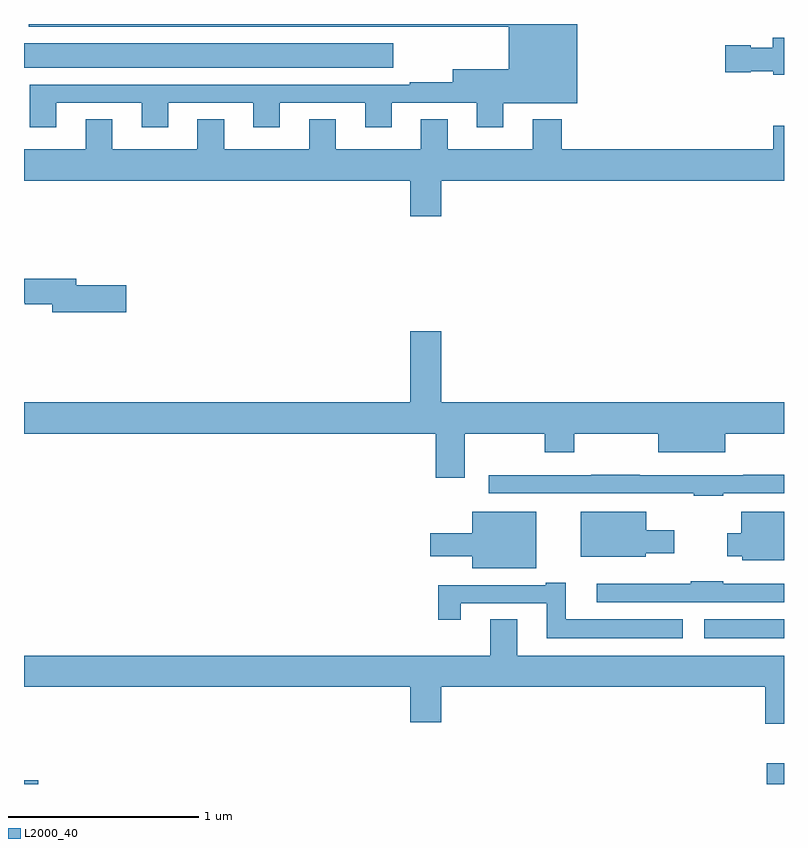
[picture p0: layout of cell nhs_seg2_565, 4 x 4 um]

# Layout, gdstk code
import gdstk
lib = gdstk.Library(unit=1e-6, precision=1e-09)
def R(c, l, rs):  # rectangles x0, y0, x1, y1
    for r in rs: c.add(gdstk.rectangle(r[:2], r[2:], *l))
def P(c, l, *ps):  # polygons
    for p in ps: c.add(gdstk.Polygon(p, *l))
L2000_40 = (2000, 40)

nhs_seg2_565 = lib.new_cell('nhs_seg2_565')
R(nhs_seg2_565, L2000_40, [(139,637.8,139.075,637.82), (142.91,637.8,143,637.909), (142.581,638.567,143,638.668), (139,641.57,140.944,641.698)])
P(nhs_seg2_565, L2000_40, [(139.171,641.385),(139.619,641.385),(139.619,641.256),(139.759,641.256),(139.759,641.385),(140.207,641.385),(140.207,641.256),(140.347,641.256),(140.347,641.385),(140.795,641.385),(140.795,641.256),(140.935,641.256),(140.935,641.385),(141.383,641.385),(141.383,641.256),(141.523,641.256),(141.523,641.384),(141.913,641.384),(141.913,641.8),(139.025,641.8),(139.025,641.786),(141.551,641.786),(141.551,641.563),(141.257,641.563),(141.257,641.494),(141.031,641.494),(141.031,641.481),(139.031,641.481),(139.031,641.256),(139.171,641.256)],
  [(143,641.728),(142.94,641.728),(142.94,641.674),(142.824,641.674),(142.824,641.687),(142.692,641.687),(142.692,641.545),(142.824,641.545),(142.824,641.552),(142.944,641.552),(142.944,641.534),(143,641.534)],
  [(141.196,640.976),(143,640.976),(143,641.264),(142.943,641.264),(142.943,641.14),(141.83,641.14),(141.83,641.299),(141.677,641.299),(141.677,641.14),(141.229,641.14),(141.229,641.3),(141.089,641.3),(141.089,641.14),(140.641,641.14),(140.641,641.3),(140.501,641.3),(140.501,641.14),(140.053,641.14),(140.053,641.3),(139.913,641.3),(139.913,641.14),(139.465,641.14),(139.465,641.3),(139.325,641.3),(139.325,641.14),(139,641.14),(139,640.976),(141.032,640.976),(141.032,640.788),(141.196,640.788)],
  [(139.537,640.424),(139.276,640.424),(139.276,640.46),(139,640.46),(139,640.332),(139.005,640.332),(139.005,640.324),(139.148,640.324),(139.148,640.282),(139.537,640.282)],
  [(141.319,639.644),(141.742,639.644),(141.742,639.545),(141.897,639.545),(141.897,639.644),(142.337,639.644),(142.337,639.545),(142.69,639.545),(142.69,639.644),(143,639.644),(143,639.808),(141.196,639.808),(141.196,640.183),(141.032,640.183),(141.032,639.808),(139,639.808),(139,639.644),(141.167,639.644),(141.167,639.411),(141.319,639.411)],
  [(142.679,639.33),(143,639.33),(143,639.428),(142.786,639.428),(142.786,639.426),(142.241,639.426),(142.241,639.428),(141.985,639.428),(141.985,639.426),(141.447,639.426),(141.447,639.33),(142.372,639.33),(142.372,639.329),(142.526,639.329),(142.526,639.318),(142.679,639.318)],
  [(143,639.232),(142.775,639.232),(142.775,639.121),(142.7,639.121),(142.7,638.999),(142.779,638.999),(142.779,638.978),(143,638.978)],
  [(141.697,639.232),(141.359,639.232),(141.359,639.121),(141.138,639.121),(141.138,638.999),(141.359,638.999),(141.359,638.936),(141.697,638.936)],
  [(142.272,639.014),(142.423,639.014),(142.423,639.136),(142.276,639.136),(142.276,639.232),(141.929,639.232),(141.929,638.996),(142.272,638.996)],
  [(143,638.853),(142.679,638.853),(142.679,638.866),(142.51,638.866),(142.51,638.854),(142.014,638.854),(142.014,638.757),(143,638.757)],
  [(142.468,638.668),(141.85,638.668),(141.85,638.86),(141.746,638.86),(141.746,638.847),(141.181,638.847),(141.181,638.664),(141.298,638.664),(141.298,638.751),(141.752,638.751),(141.752,638.567),(142.468,638.567)],
  [(143,638.476),(141.595,638.476),(141.595,638.666),(141.455,638.666),(141.455,638.476),(139,638.476),(139,638.312),(141.032,638.312),(141.032,638.124),(141.196,638.124),(141.196,638.312),(142.901,638.312),(142.901,638.118),(143,638.118)])

lib.write_gds('nhs_seg2_565.gds')
